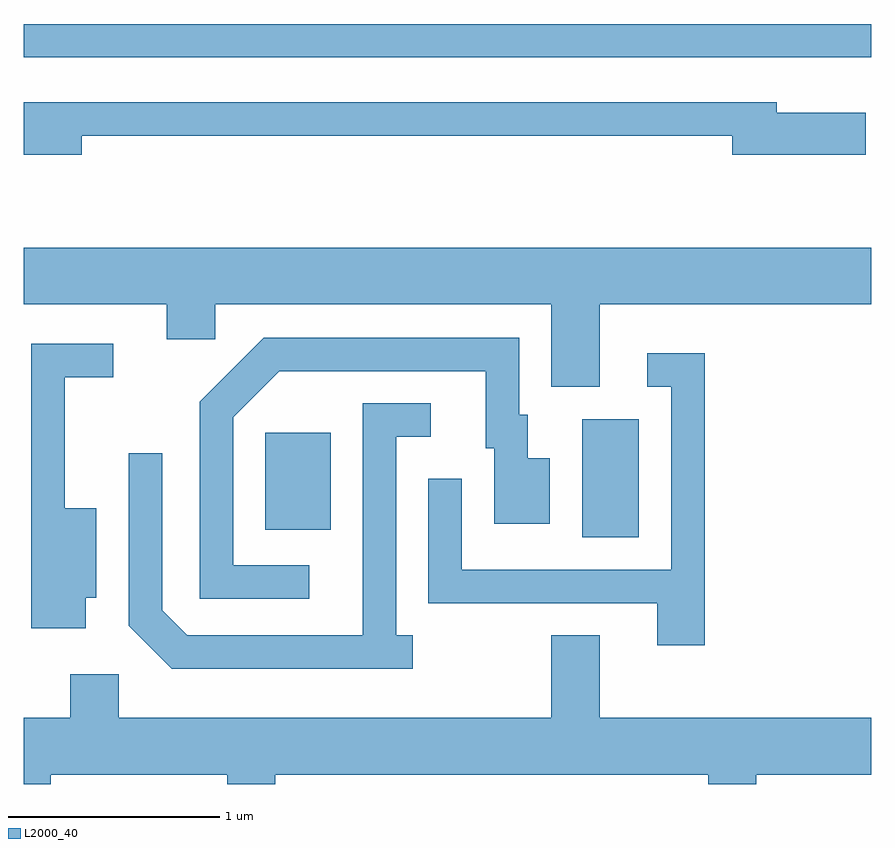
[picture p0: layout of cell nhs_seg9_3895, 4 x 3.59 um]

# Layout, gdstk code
import gdstk
lib = gdstk.Library(unit=1e-6, precision=1e-09)
def R(c, l, rs):  # rectangles x0, y0, x1, y1
    for r in rs: c.add(gdstk.rectangle(r[:2], r[2:], *l))
def P(c, l, *ps):  # polygons
    for p in ps: c.add(gdstk.Polygon(p, *l))
L2000_40 = (2000, 40)

nhs_seg9_3895 = lib.new_cell('nhs_seg9_3895')
R(nhs_seg9_3895, L2000_40, [(302.246,1999.596,302.514,2000.154), (300.751,1999.631,301.059,2000.089), (299.611,2001.861,303.611,2002.019)])
P(nhs_seg9_3895, L2000_40, [(299.884,2001.491),(302.956,2001.491),(302.956,2001.401),(303.584,2001.401),(303.584,2001.599),(303.164,2001.599),(303.164,2001.649),(299.611,2001.649),(299.611,2001.401),(299.884,2001.401)],
  [(302.329,2000.696),(303.611,2000.696),(303.611,2000.964),(299.611,2000.964),(299.611,2000.696),(300.286,2000.696),(300.286,2000.531),(300.514,2000.531),(300.514,2000.696),(302.101,2000.696),(302.101,2000.306),(302.329,2000.306)],
  [(300.958,1999.464),(300.599,1999.464),(300.599,2000.164),(300.817,2000.381),(301.791,2000.381),(301.791,2000.016),(301.831,2000.016),(301.831,1999.661),(302.094,1999.661),(302.094,1999.969),(301.989,1999.969),(301.989,2000.174),(301.949,2000.174),(301.949,2000.539),(300.744,2000.539),(300.441,2000.237),(300.441,1999.306),(300.958,1999.306)],
  [(299.904,1999.311),(299.954,1999.311),(299.954,1999.734),(299.804,1999.734),(299.804,2000.351),(300.033,2000.351),(300.033,2000.509),(299.646,2000.509),(299.646,1999.166),(299.904,1999.166)],
  [(302.824,2000.464),(302.553,2000.464),(302.553,2000.306),(302.666,2000.306),(302.666,1999.444),(301.679,1999.444),(301.679,1999.873),(301.521,1999.873),(301.521,1999.286),(302.601,1999.286),(302.601,1999.086),(302.824,1999.086)],
  [(301.448,1999.134),(301.369,1999.134),(301.369,2000.071),(301.533,2000.071),(301.533,2000.229),(301.211,2000.229),(301.211,1999.134),(300.382,1999.134),(300.264,1999.252),(300.264,1999.993),(300.106,1999.993),(300.106,1999.179),(300.309,1998.976),(301.448,1998.976)],
  [(299.739,1998.476),(300.571,1998.476),(300.571,1998.432),(300.799,1998.432),(300.799,1998.476),(302.841,1998.476),(302.841,1998.432),(303.069,1998.432),(303.069,1998.476),(303.611,1998.476),(303.611,1998.744),(302.329,1998.744),(302.329,1999.134),(302.101,1999.134),(302.101,1998.744),(300.059,1998.744),(300.059,1998.949),(299.831,1998.949),(299.831,1998.744),(299.611,1998.744),(299.611,1998.432),(299.739,1998.432)])

lib.write_gds('nhs_seg9_3895.gds')
